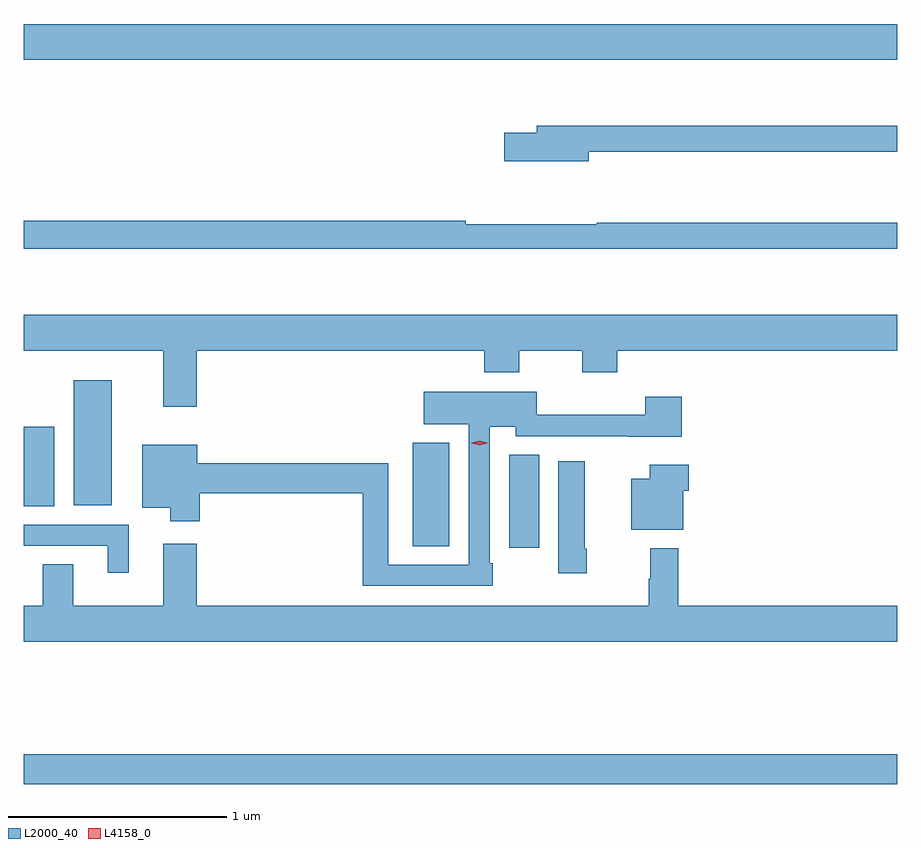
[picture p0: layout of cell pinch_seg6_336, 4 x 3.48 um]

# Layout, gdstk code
import gdstk
lib = gdstk.Library(unit=1e-6, precision=1e-09)
def R(c, l, rs):  # rectangles x0, y0, x1, y1
    for r in rs: c.add(gdstk.rectangle(r[:2], r[2:], *l))
def P(c, l, *ps):  # polygons
    for p in ps: c.add(gdstk.Polygon(p, *l))
L2000_40 = (2000, 40)
L4158_0 = (4158, 0)

pinch_seg6_336 = lib.new_cell('pinch_seg6_336')
R(pinch_seg6_336, L2000_40, [(705.926,940.024,709.926,940.16), (708.149,941.106,708.286,941.531), (707.708,941.113,707.875,941.587), (705.926,941.296,706.066,941.659), (706.154,941.3,706.33,941.872), (705.926,943.34,709.926,943.504)])
P(pinch_seg6_336, L2000_40, [(708.514,942.918),(709.926,942.918),(709.926,943.039),(708.275,943.039),(708.275,943.005),(708.126,943.005),(708.126,942.875),(708.514,942.875)],
  [(709.926,942.595),(708.551,942.595),(708.551,942.587),(707.951,942.587),(707.951,942.602),(705.926,942.602),(705.926,942.474),(709.926,942.474)],
  [(706.718,942.008),(708.035,942.008),(708.035,941.909),(708.195,941.909),(708.195,942.008),(708.484,942.008),(708.484,941.909),(708.644,941.909),(708.644,942.008),(709.926,942.008),(709.926,942.172),(705.926,942.172),(705.926,942.008),(706.565,942.008),(706.565,941.751),(706.718,941.751)],
  [(708.073,941.035),(708.06,941.035),(708.06,941.66),(708.18,941.66),(708.18,941.616),(708.689,941.616),(708.689,941.615),(708.938,941.615),(708.938,941.797),(708.773,941.797),(708.773,941.714),(708.276,941.714),(708.276,941.821),(707.757,941.821),(707.757,941.672),(707.964,941.672),(707.964,941.028),(707.595,941.028),(707.595,941.492),(706.72,941.492),(706.72,941.578),(706.469,941.578),(706.469,941.288),(706.598,941.288),(706.598,941.226),(706.733,941.226),(706.733,941.356),(707.479,941.356),(707.479,940.932),(708.073,940.932)],
  [(708.504,941.101),(708.496,941.101),(708.496,941.503),(708.374,941.503),(708.374,940.989),(708.504,940.989)],
  [(708.946,941.367),(708.971,941.367),(708.971,941.485),(708.793,941.485),(708.793,941.422),(708.707,941.422),(708.707,941.189),(708.946,941.189)],
  [(706.408,941.211),(705.926,941.211),(705.926,941.115),(706.31,941.115),(706.31,940.992),(706.408,940.992)],
  [(709.926,940.84),(708.923,940.84),(708.923,941.104),(708.795,941.104),(708.795,940.964),(708.787,940.964),(708.787,940.84),(706.718,940.84),(706.718,941.125),(706.565,941.125),(706.565,940.84),(706.153,940.84),(706.153,941.03),(706.013,941.03),(706.013,940.84),(705.926,940.84),(705.926,940.676),(709.926,940.676)])
P(pinch_seg6_336, L4158_0, [(708.013,941.576),(707.978,941.585),(707.978,941.586),(707.978,941.586),(708.013,941.596),(708.048,941.586),(708.048,941.586),(708.048,941.585)])

lib.write_gds('pinch_seg6_336.gds')
